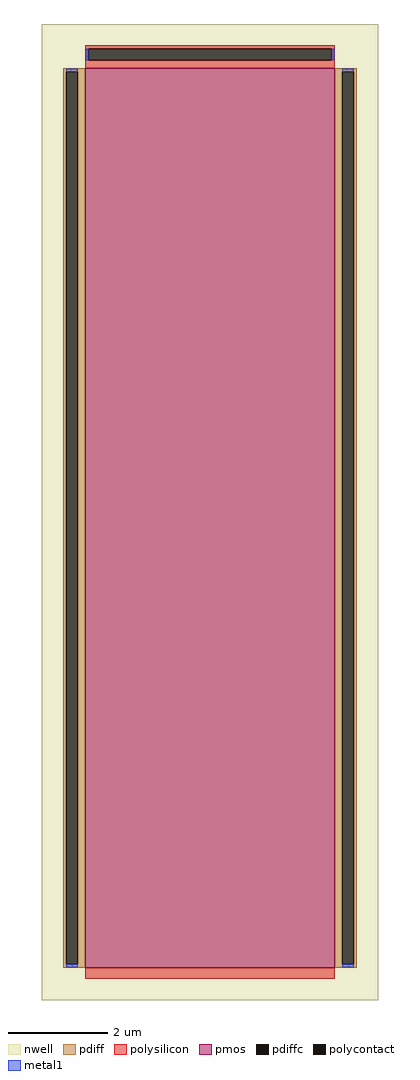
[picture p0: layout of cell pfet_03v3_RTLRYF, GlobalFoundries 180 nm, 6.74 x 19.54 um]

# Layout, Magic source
magic
tech gf180mcuD
magscale 1 10
<< nwell >>
rect -674 -1954 674 1954
<< pmos >>
rect -500 -1824 500 1776
<< pdiff >>
rect -588 1763 -500 1776
rect -588 -1811 -575 1763
rect -529 -1811 -500 1763
rect -588 -1824 -500 -1811
rect 500 1763 588 1776
rect 500 -1811 529 1763
rect 575 -1811 588 1763
rect 500 -1824 588 -1811
<< pdiffc >>
rect -575 -1811 -529 1763
rect 529 -1811 575 1763
<< polysilicon >>
rect -500 1855 500 1868
rect -500 1809 -487 1855
rect 487 1809 500 1855
rect -500 1776 500 1809
rect -500 -1868 500 -1824
<< polycontact >>
rect -487 1809 487 1855
<< metal1 >>
rect -498 1809 -487 1855
rect 487 1809 498 1855
rect -575 1763 -529 1774
rect -575 -1822 -529 -1811
rect 529 1763 575 1774
rect 529 -1822 575 -1811
<< properties >>
string gencell pfet_03v3
string library gf180mcu
string parameters w 18 l 5 m 1 nf 1 diffcov 100 polycov 100 guard 0 glc 0 grc 0 gtc 0 gbc 0 tbcov 100 rlcov 100 topc 1 botc 0 poverlap 0 doverlap 1 lmin 0.28 wmin 0.22 class mosfet full_metal 0 compatible {pfet_03v3 pfet_05v0 pfet_06v0}
<< end >>
